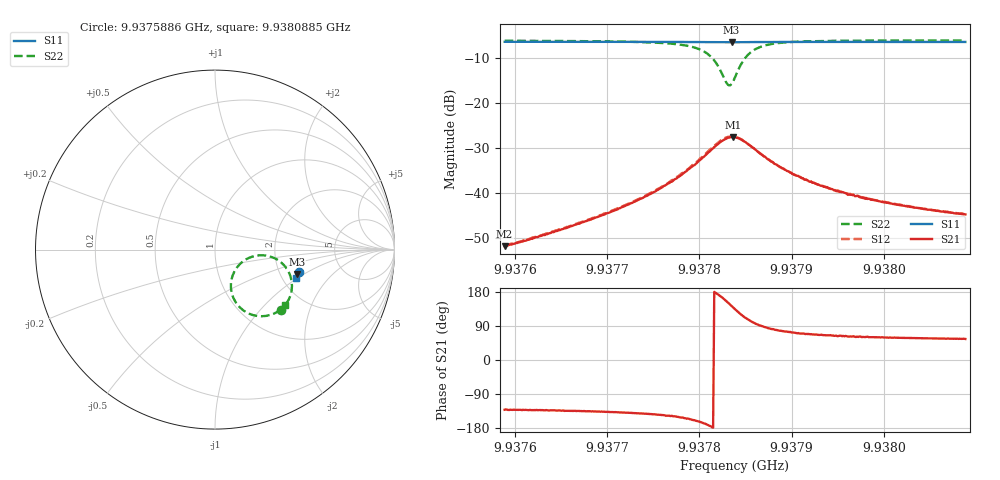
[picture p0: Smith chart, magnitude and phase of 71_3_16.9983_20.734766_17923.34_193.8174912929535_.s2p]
#  HZ  S  RI  R  50.00
! Rohde & Schwarz Vector Network Analyzer
! Rohde-Schwarz,ZNB20-2Port,1311601062101988,3.16
! Created: UTC 3/20/2024, 10:55:14 PM
! freq[Hz]  re:S11  im:S11  re:S21  im:S21  re:S12  im:S12  re:S22  im:S22
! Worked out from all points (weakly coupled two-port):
!   401 points, 9.9375886 GHz to 9.9380885 GHz, reference 50 ohm
!   highest |S21| = -27.54 dB at 9.937836 GHz (marker M1); lowest = -51.8 dB at 9.9375886 GHz (marker M2)
!   lowest |S11| = -6.4 dB at 9.9378348 GHz (marker M3), VSWR 2.82, Z = 122 - j43.9 ohm
!   |S11| at or under -10 dB: nowhere
!   |S22| runs from -16.0 to -6.0 dB; largest |S21 - S12| = 0.0026
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9.93758859e9  0.4657 -0.1249  -0.00169 -0.00194  -0.00174 -0.00193  0.3657 -0.3339
9.93767232e9  0.4636 -0.1307  -0.00332 -0.00334  -0.00345 -0.00332  0.3465 -0.347
9.93772106e9  0.4622 -0.1343  -0.00554 -0.00484  -0.00573 -0.00482  0.3241 -0.3583
9.93775605e9  0.4611 -0.1367  -0.00898 -0.00642  -0.0093 -0.00641  0.2922 -0.368
9.93778604e9  0.4595 -0.139  -0.016 -0.00745  -0.0164 -0.00755  0.2331 -0.3695
9.93780479e9  0.458 -0.1402  -0.0248 -0.00556  -0.0258 -0.00522  0.1611 -0.3407
9.93781479e9  0.4568 -0.1403  -0.0316 -0.000835  -0.0328 0.000386  0.1128 -0.289
9.93782353e9  0.4559 -0.1399  -0.0365 0.00853  -0.0373 0.0105  0.0884 -0.2042
9.93782978e9  0.4555 -0.1393  -0.0367 0.018  -0.0367 0.0202  0.1053 -0.1279
9.93783228e9  0.4554 -0.1391  -0.0354 0.0217  -0.035 0.0242  0.1229 -0.0989
9.93783478e9  0.4555 -0.1387  -0.0334 0.0254  -0.0328 0.0277  0.1459 -0.0739
9.93783603e9  0.4557 -0.1385  -0.032 0.0271  -0.0312 0.0292  0.1598 -0.0632
9.93783853e9  0.4559 -0.1382  -0.0291 0.03  -0.0278 0.032  0.1889 -0.0463
9.93784478e9  0.4567 -0.138  -0.0202 0.034  -0.0188 0.0353  0.2652 -0.0316
9.93784978e9  0.4574 -0.138  -0.0135 0.0345  -0.012 0.0349  0.3176 -0.0422
9.93785603e9  0.458 -0.1385  -0.0069 0.0325  -0.00555 0.0327  0.365 -0.0688
9.93786352e9  0.4585 -0.1394  -0.00162 0.0288  -0.000747 0.0288  0.3988 -0.1054
9.93788727e9  0.459 -0.1419  0.00438 0.0191  0.00467 0.019  0.4284 -0.1906
9.93792226e9  0.4582 -0.1449  0.00502 0.0121  0.00541 0.012  0.4224 -0.2474
9.937961e9  0.4574 -0.1479  0.0045 0.00846  0.00467 0.00866  0.412 -0.2758
9.93800599e9  0.4562 -0.151  0.00394 0.00663  0.00412 0.00663  0.4025 -0.2934
9.93808847e9  0.4539 -0.1566  0.00328 0.00478  0.00337 0.00478  0.3901 -0.3108
